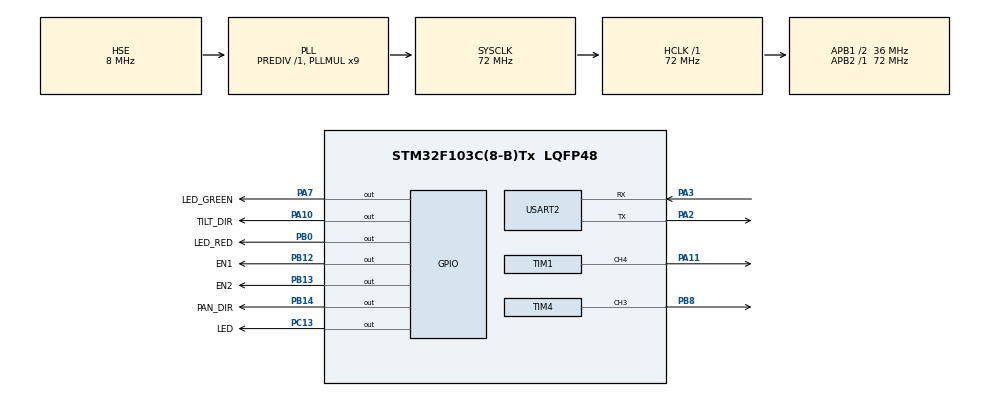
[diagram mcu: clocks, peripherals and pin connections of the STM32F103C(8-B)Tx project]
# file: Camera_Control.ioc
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Dma.Request0=USART2_RX
Dma.Request1=USART2_TX
Dma.USART2_RX.0.Direction=DMA_PERIPH_TO_MEMORY
Dma.USART2_RX.0.Instance=DMA1_Channel6
Dma.USART2_RX.0.MemDataAlignment=DMA_MDATAALIGN_BYTE
Dma.USART2_RX.0.MemInc=DMA_MINC_ENABLE
Dma.USART2_RX.0.Mode=DMA_NORMAL
Dma.USART2_RX.0.PeriphDataAlignment=DMA_PDATAALIGN_BYTE
Dma.USART2_RX.0.PeriphInc=DMA_PINC_DISABLE
Dma.USART2_RX.0.Priority=DMA_PRIORITY_LOW
Dma.USART2_TX.1.Direction=DMA_MEMORY_TO_PERIPH
Dma.USART2_TX.1.Instance=DMA1_Channel7
Dma.USART2_TX.1.MemDataAlignment=DMA_MDATAALIGN_BYTE
Dma.USART2_TX.1.MemInc=DMA_MINC_ENABLE
Dma.USART2_TX.1.Mode=DMA_NORMAL
Dma.USART2_TX.1.PeriphDataAlignment=DMA_PDATAALIGN_BYTE
Dma.USART2_TX.1.PeriphInc=DMA_PINC_DISABLE
Dma.USART2_TX.1.Priority=DMA_PRIORITY_LOW
Mcu.Family=STM32F1
Mcu.Name=STM32F103C(8-B)Tx
Mcu.Package=LQFP48
NVIC.DMA1_Channel6_IRQn=true\:0\:0\:false\:false\:true\:false\:true\:true
NVIC.DMA1_Channel7_IRQn=true\:0\:0\:false\:false\:true\:false\:true\:true
NVIC.PriorityGroup=NVIC_PRIORITYGROUP_4
NVIC.USART2_IRQn=true\:0\:0\:false\:false\:true\:false\:true\:true
PA10.GPIO_Label=TILT_DIR
PA10.Signal=GPIO_Output
PA11.Signal=S_TIM1_CH4
PA13.Mode=Serial_Wire
PA13.Signal=SYS_JTMS-SWDIO
PA14.Mode=Serial_Wire
PA14.Signal=SYS_JTCK-SWCLK
PA2.Mode=Asynchronous
PA2.Signal=USART2_TX
PA3.Mode=Asynchronous
PA3.Signal=USART2_RX
PA7.GPIO_Label=LED_GREEN
PA7.Signal=GPIO_Output
PB0.GPIO_Label=LED_RED
PB0.Signal=GPIO_Output
PB12.GPIO_Label=EN1
PB12.Signal=GPIO_Output
PB13.GPIO_Label=EN2
PB13.Signal=GPIO_Output
PB14.GPIO_Label=PAN_DIR
PB14.Signal=GPIO_Output
PB8.Signal=S_TIM4_CH3
PC13-TAMPER-RTC.GPIO_Label=LED
PC13-TAMPER-RTC.Signal=GPIO_Output
PD0-OSC_IN.Mode=HSE-External-Oscillator
PD0-OSC_IN.Signal=RCC_OSC_IN
PD1-OSC_OUT.Mode=HSE-External-Oscillator
PD1-OSC_OUT.Signal=RCC_OSC_OUT
ProjectManager.HeapSize=0x200
ProjectManager.StackSize=0x400
ProjectManager.TargetToolchain=CMake
RCC.AHBFreq_Value=72000000
RCC.APB1CLKDivider=RCC_HCLK_DIV2
RCC.APB1Freq_Value=36000000
RCC.APB1TimFreq_Value=72000000
RCC.APB2Freq_Value=72000000
RCC.APB2TimFreq_Value=72000000
RCC.HCLKFreq_Value=72000000
RCC.PLLMUL=RCC_PLL_MUL9
RCC.PLLSourceVirtual=RCC_PLLSOURCE_HSE
RCC.SYSCLKFreq_VALUE=72000000
RCC.SYSCLKSource=RCC_SYSCLKSOURCE_PLLCLK
RCC.USBFreq_Value=72000000
SH.S_TIM1_CH4.0=TIM1_CH4,PWM Generation4 CH4
SH.S_TIM4_CH3.0=TIM4_CH3,PWM Generation3 CH3
TIM1.Channel-PWM\ Generation4\ CH4=TIM_CHANNEL_4
TIM1.Period=1000-1
TIM1.Prescaler=72-1
TIM1.Pulse-PWM\ Generation4\ CH4=500
TIM4.Channel-PWM\ Generation3\ CH3=TIM_CHANNEL_3
TIM4.Period=1000-1
TIM4.Prescaler=72-1
TIM4.Pulse-PWM\ Generation3\ CH3=500
USART2.VirtualMode=VM_ASYNC
VP_TIM1_VS_ClockSourceINT.Mode=Internal
VP_TIM4_VS_ClockSourceINT.Mode=Internal
board=custom

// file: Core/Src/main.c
/* USER CODE BEGIN Header */
/**
  ******************************************************************************
  * @file           : main.c
  * @brief          : Main program body
  ******************************************************************************
  * @attention
  *
  * Copyright (c) 2026 STMicroelectronics.
  * All rights reserved.
  *
  * This software is licensed under terms that can be found in the LICENSE file
  * in the root directory of this software component.
  * If no LICENSE file comes with this software, it is provided AS-IS.
  *
  ******************************************************************************
  */
/* USER CODE END Header */
#include "main.h"
#include "dma.h"
#include "tim.h"
#include "usart.h"
#include "gpio.h"

/* USER CODE BEGIN Includes */
#include <stdio.h>
#include <string.h>
/* USER CODE END Includes */

/* USER CODE BEGIN PD */
#define UART_RX_BUFFER_SIZE 32
#define UART_TIMEOUT 200
#define DEAD_ZONE 10
#define MIN_STEP_FREQ 150
#define MAX_STEP_FREQ 1500
#define STEP_KP 6

/* USER CODE END PD */

/* USER CODE BEGIN PV */
uint8_t uart2_rx_byte = 0;

char uart2_build_buffer[UART_RX_BUFFER_SIZE];
char uart2_line_buffer[UART_RX_BUFFER_SIZE];

volatile uint16_t uart2_rx_index = 0;
volatile uint8_t uart2_line_ready = 0;

volatile int32_t vision_dx = 0;
volatile int32_t vision_dy = 0;
volatile uint8_t target_found = 0;

uint32_t last_uart_tick = 0;
/* USER CODE END PV */

void SystemClock_Config(void);
/* USER CODE BEGIN PFP */
void Stepper_Set(TIM_HandleTypeDef *htim,uint32_t channel,GPIO_TypeDef *dir_port,uint16_t dir_pin,int32_t error);
void HAL_UART_RxCpltCallback(UART_HandleTypeDef *huart);
/* USER CODE END PFP */

int main(void)
{

  /* MCU Configuration--------------------------------------------------------*/

  /* Reset of all peripherals, Initializes the Flash interface and the Systick. */
  HAL_Init();

  /* Configure the system clock */
  SystemClock_Config();

  /* Initialize all configured peripherals */
  MX_GPIO_Init();
  MX_DMA_Init();
  MX_USART2_UART_Init();
  MX_TIM4_Init();
  MX_TIM1_Init();

  /* USER CODE BEGIN 2 */
  HAL_GPIO_WritePin(EN1_GPIO_Port,EN1_Pin,GPIO_PIN_SET);
  HAL_GPIO_WritePin(EN2_GPIO_Port,EN2_Pin,GPIO_PIN_SET);

  HAL_GPIO_WritePin(PAN_DIR_GPIO_Port,PAN_DIR_Pin,GPIO_PIN_RESET);
  HAL_GPIO_WritePin(TILT_DIR_GPIO_Port,TILT_DIR_Pin,GPIO_PIN_RESET);

  HAL_TIM_PWM_Stop(&htim4,TIM_CHANNEL_3);
  HAL_TIM_PWM_Stop(&htim1,TIM_CHANNEL_4);

  HAL_GPIO_WritePin(LED_GPIO_Port,LED_Pin,GPIO_PIN_SET);

  if(HAL_UART_Receive_DMA(&huart2,&uart2_rx_byte,1) != HAL_OK)Error_Handler();

  last_uart_tick = HAL_GetTick();
  /* USER CODE END 2 */

  /* Infinite loop */
  /* USER CODE BEGIN WHILE */
  while (1){
    if(uart2_line_ready == 1){
      int received_dx = 0;
      int received_dy = 0;

      last_uart_tick = HAL_GetTick();

      if(strcmp(uart2_line_buffer,"L") == 0){
        target_found = 0;
        vision_dx = 0;
        vision_dy = 0;
      }
      else if(sscanf(uart2_line_buffer,"%d,%d",&received_dx,&received_dy) == 2){
        vision_dx = received_dx;
        vision_dy = received_dy;
        target_found = 1;
      }
      else{
        target_found = 0;
        vision_dx = 0;
        vision_dy = 0;
      }

      if(target_found == 1){
        Stepper_Set(&htim4,TIM_CHANNEL_3,PAN_DIR_GPIO_Port,PAN_DIR_Pin,vision_dx);
        Stepper_Set(&htim1,TIM_CHANNEL_4,TILT_DIR_GPIO_Port,TILT_DIR_Pin,vision_dy);
        HAL_GPIO_WritePin(LED_GPIO_Port,LED_Pin,GPIO_PIN_RESET);
      }
      else{
        HAL_TIM_PWM_Stop(&htim4,TIM_CHANNEL_3);
        HAL_TIM_PWM_Stop(&htim1,TIM_CHANNEL_4);
        HAL_GPIO_WritePin(LED_GPIO_Port,LED_Pin,GPIO_PIN_SET);
      }

      uart2_line_ready = 0;
    }

    if(target_found == 1 && HAL_GetTick() - last_uart_tick > UART_TIMEOUT){
      target_found = 0;
      vision_dx = 0;
      vision_dy = 0;

      HAL_TIM_PWM_Stop(&htim4,TIM_CHANNEL_3);
      HAL_TIM_PWM_Stop(&htim1,TIM_CHANNEL_4);

      HAL_GPIO_WritePin(LED_GPIO_Port,LED_Pin,GPIO_PIN_SET);
    }
    /* USER CODE END WHILE */

  }
}

void SystemClock_Config(void)
{
  RCC_OscInitTypeDef RCC_OscInitStruct = {0};
  RCC_ClkInitTypeDef RCC_ClkInitStruct = {0};

  /** Initializes the RCC Oscillators according to the specified parameters
  * in the RCC_OscInitTypeDef structure.
  */
  RCC_OscInitStruct.OscillatorType = RCC_OSCILLATORTYPE_HSE;
  RCC_OscInitStruct.HSEState = RCC_HSE_ON;
  RCC_OscInitStruct.HSEPredivValue = RCC_HSE_PREDIV_DIV1;
  RCC_OscInitStruct.HSIState = RCC_HSI_ON;
  RCC_OscInitStruct.PLL.PLLState = RCC_PLL_ON;
  RCC_OscInitStruct.PLL.PLLSource = RCC_PLLSOURCE_HSE;
  RCC_OscInitStruct.PLL.PLLMUL = RCC_PLL_MUL9;

  if(HAL_RCC_OscConfig(&RCC_OscInitStruct) != HAL_OK){
    Error_Handler();
  }

  /** Initializes the CPU, AHB and APB buses clocks
  */
  RCC_ClkInitStruct.ClockType = RCC_CLOCKTYPE_HCLK|RCC_CLOCKTYPE_SYSCLK
                              |RCC_CLOCKTYPE_PCLK1|RCC_CLOCKTYPE_PCLK2;
  RCC_ClkInitStruct.SYSCLKSource = RCC_SYSCLKSOURCE_PLLCLK;
  RCC_ClkInitStruct.AHBCLKDivider = RCC_SYSCLK_DIV1;
  RCC_ClkInitStruct.APB1CLKDivider = RCC_HCLK_DIV2;
  RCC_ClkInitStruct.APB2CLKDivider = RCC_HCLK_DIV1;

  if(HAL_RCC_ClockConfig(&RCC_ClkInitStruct,FLASH_LATENCY_2) != HAL_OK){
    Error_Handler();
  }
}

/* USER CODE BEGIN 4 */
void HAL_UART_RxCpltCallback(UART_HandleTypeDef *huart){
  if(huart->Instance == USART2){
    uint8_t received_char = uart2_rx_byte;

    if(received_char == '\n'){
      uart2_build_buffer[uart2_rx_index] = '\0';

      if(uart2_line_ready == 0){
        memcpy(uart2_line_buffer,uart2_build_buffer,uart2_rx_index + 1);
        uart2_line_ready = 1;
      }

      uart2_rx_index = 0;
    }
    else if(received_char != '\r'){
      if(uart2_rx_index < UART_RX_BUFFER_SIZE - 1){
        uart2_build_buffer[uart2_rx_index] = (char)received_char;
        uart2_rx_index++;
      }
      else{
        uart2_rx_index = 0;
      }
    }

    HAL_UART_Receive_DMA(&huart2,&uart2_rx_byte,1);
  }
}

void Stepper_Set(TIM_HandleTypeDef *htim,uint32_t channel,GPIO_TypeDef *dir_port,uint16_t dir_pin,int32_t error){
  uint32_t abs_error;
  uint32_t frequency;
  uint32_t arr;

  if(error >= -DEAD_ZONE && error <= DEAD_ZONE){
    HAL_TIM_PWM_Stop(htim,channel);
    return;
  }

  if(error > 0){
    HAL_GPIO_WritePin(dir_port,dir_pin,GPIO_PIN_SET);
    abs_error = error;
  }
  else{
    HAL_GPIO_WritePin(dir_port,dir_pin,GPIO_PIN_RESET);
    abs_error = -error;
  }

  frequency = abs_error * STEP_KP;

  if(frequency < MIN_STEP_FREQ)frequency = MIN_STEP_FREQ;
  if(frequency > MAX_STEP_FREQ)frequency = MAX_STEP_FREQ;

  arr = 1000000U / frequency - 1U;

  __HAL_TIM_SET_AUTORELOAD(htim,arr);
  __HAL_TIM_SET_COMPARE(htim,channel,(arr + 1U) / 2U);
  __HAL_TIM_SET_COUNTER(htim,0U);
  HAL_TIM_GenerateEvent(htim,TIM_EVENTSOURCE_UPDATE);

  HAL_TIM_PWM_Start(htim,channel);
}
/* USER CODE END 4 */

void Error_Handler(void)
{
  __disable_irq();
  while (1){}
}
